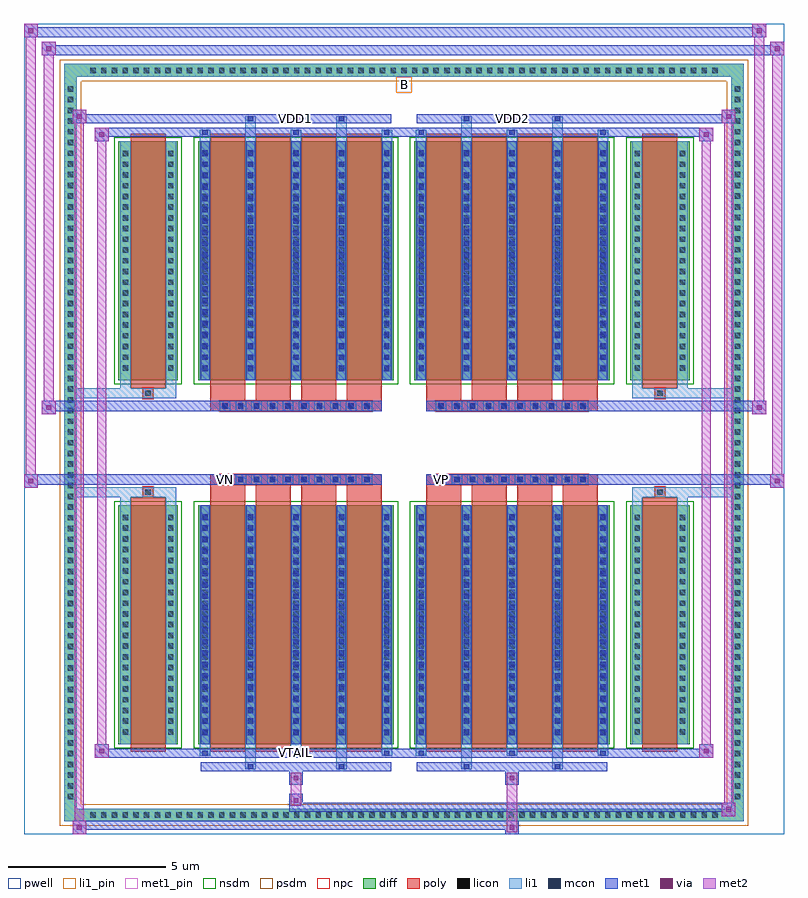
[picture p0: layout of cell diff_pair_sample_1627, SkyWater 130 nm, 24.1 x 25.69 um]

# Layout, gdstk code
import gdstk
lib = gdstk.Library(unit=1e-6, precision=5e-09)
def R(c, l, rs):  # rectangles x0, y0, x1, y1
    for r in rs: c.add(gdstk.rectangle(r[:2], r[2:], *l))
def A(c, l, x, y, w, h, nx, ny, dx, dy):  # array of equal rectangles
    R(c, l, [(x+i*dx, y+j*dy, x+i*dx+w, y+j*dy+h) for i in range(nx) for j in range(ny)])
def P(c, l, *ps):  # polygons
    for p in ps: c.add(gdstk.Polygon(p, *l))
pwell = (64, 44)
diff = (65, 20)
poly = (66, 20)
licon = (66, 44)
li1_pin = (67, 16)
li1 = (67, 20)
mcon = (67, 44)
met1_pin = (68, 16)
met1 = (68, 20)
via = (68, 44)
met2 = (69, 20)
nsdm = (93, 44)
psdm = (94, 20)
npc = (95, 20)

diff_pair_sample_1627 = lib.new_cell('diff_pair_sample_1627')
R(diff_pair_sample_1627, pwell, [(-12.05,-12.41,12.05,13.28), (-9.37,-10.6,-0.01,-0.8), (0.01,-10.6,9.37,-0.8), (-9.37,0.8,-0.01,10.6), (0.01,0.8,9.37,10.6)])
A(diff_pair_sample_1627, diff, -10.065, -12.01, 0.41, 0.41, 59, 2, 0.34, 23.61)
A(diff_pair_sample_1627, diff, -10.78, -11.425, 0.41, 0.41, 1, 67, 0, 0.34)
A(diff_pair_sample_1627, diff, 10.37, -11.425, 0.41, 0.41, 1, 67, 0, 0.34)
R(diff_pair_sample_1627, diff, [(-10.065,-12.01,10.065,-11.6), (-10.78,-11.425,-10.37,11.425), (10.37,-11.425,10.78,11.425), (-9.06,-9.555,-7.17,-1.985), (-6.53,-9.555,-0.32,-1.985), (0.32,-9.555,6.53,-1.985), (7.17,-9.555,9.06,-1.985), (-9.06,1.985,-7.17,9.555), (-6.53,1.985,-0.32,9.555), (0.32,1.985,6.53,9.555), (7.17,1.985,9.06,9.555), (-10.065,11.6,10.065,12.01)])
P(diff_pair_sample_1627, diff, [(10.78,12.01),(-10.78,12.01),(-10.78,-11.6),(-10.37,-11.6),(-10.37,11.6),(10.37,11.6),(10.37,-11.6),(-10.37,-11.6),(-10.78,-11.6),(-10.78,-12.01),(10.78,-12.01)])
A(diff_pair_sample_1627, poly, -6.14, -9.805, 1.11, 8.07, 4, 2, 1.44, 11.54)
A(diff_pair_sample_1627, poly, 0.71, -9.805, 1.11, 8.07, 4, 2, 1.44, 11.54)
A(diff_pair_sample_1627, poly, -6.14, -1.735, 1.11, 0.405, 4, 2, 1.44, 3.065)
A(diff_pair_sample_1627, poly, 0.71, -1.735, 1.11, 0.405, 4, 2, 1.44, 3.065)
A(diff_pair_sample_1627, poly, -5.84, -1.33, 0.33, 0.33, 10, 2, 0.5, 2.33)
A(diff_pair_sample_1627, poly, 1.01, -1.33, 0.33, 0.33, 10, 2, 0.5, 2.33)
R(diff_pair_sample_1627, poly, [(-8.67,-9.805,-7.56,-1.735), (7.56,-9.805,8.67,-1.735), (-8.28,-1.735,-7.95,-1.405), (-8.28,-1.735,-7.95,-1.405), (7.95,-1.735,8.28,-1.405), (7.95,-1.735,8.28,-1.405), (-6.14,-1.33,-0.71,-1), (0.71,-1.33,6.14,-1), (-6.14,1,-0.71,1.33), (0.71,1,6.14,1.33), (-8.28,1.405,-7.95,1.735), (-8.28,1.405,-7.95,1.735), (7.95,1.405,8.28,1.735), (7.95,1.405,8.28,1.735), (-8.67,1.735,-7.56,9.805), (7.56,1.735,8.67,9.805)])
A(diff_pair_sample_1627, licon, -9.945, -11.89, 0.17, 0.17, 59, 2, 0.34, 23.61)
A(diff_pair_sample_1627, licon, -10.66, -11.305, 0.17, 0.17, 1, 67, 0, 0.34)
A(diff_pair_sample_1627, licon, 10.49, -11.305, 0.17, 0.17, 1, 67, 0, 0.34)
A(diff_pair_sample_1627, licon, -8.92, -9.255, 0.17, 0.17, 1, 21, 0, 0.34)
A(diff_pair_sample_1627, licon, -7.48, -9.255, 0.17, 0.17, 1, 21, 0, 0.34)
A(diff_pair_sample_1627, licon, -6.39, -9.255, 0.17, 0.17, 5, 21, 1.44, 0.34)
A(diff_pair_sample_1627, licon, 0.46, -9.255, 0.17, 0.17, 5, 21, 1.44, 0.34)
A(diff_pair_sample_1627, licon, 7.31, -9.255, 0.17, 0.17, 1, 21, 0, 0.34)
A(diff_pair_sample_1627, licon, 8.75, -9.255, 0.17, 0.17, 1, 21, 0, 0.34)
A(diff_pair_sample_1627, licon, -5.76, -1.25, 0.17, 0.17, 10, 2, 0.5, 2.33)
A(diff_pair_sample_1627, licon, 1.09, -1.25, 0.17, 0.17, 10, 2, 0.5, 2.33)
A(diff_pair_sample_1627, licon, -8.92, 2.285, 0.17, 0.17, 1, 21, 0, 0.34)
A(diff_pair_sample_1627, licon, -7.48, 2.285, 0.17, 0.17, 1, 21, 0, 0.34)
A(diff_pair_sample_1627, licon, -6.39, 2.285, 0.17, 0.17, 5, 21, 1.44, 0.34)
A(diff_pair_sample_1627, licon, 0.46, 2.285, 0.17, 0.17, 5, 21, 1.44, 0.34)
A(diff_pair_sample_1627, licon, 7.31, 2.285, 0.17, 0.17, 1, 21, 0, 0.34)
A(diff_pair_sample_1627, licon, 8.75, 2.285, 0.17, 0.17, 1, 21, 0, 0.34)
R(diff_pair_sample_1627, licon, [(-8.2,-1.655,-8.03,-1.485), (8.03,-1.655,8.2,-1.485), (-8.2,1.485,-8.03,1.655), (8.03,1.485,8.2,1.655)])
R(diff_pair_sample_1627, li1_pin, [(-0.25,11.1,0.25,11.6)])
A(diff_pair_sample_1627, li1, -10.025, -11.97, 0.33, 0.33, 59, 2, 0.34, 23.61)
A(diff_pair_sample_1627, li1, -10.74, -11.385, 0.33, 0.33, 1, 67, 0, 0.34)
A(diff_pair_sample_1627, li1, 10.41, -11.385, 0.33, 0.33, 1, 67, 0, 0.34)
A(diff_pair_sample_1627, li1, -6.47, -9.93, 0.33, 0.375, 3, 2, 2.88, 19.485)
A(diff_pair_sample_1627, li1, -6.39, -9.93, 0.17, 0.17, 3, 2, 2.88, 19.69)
A(diff_pair_sample_1627, li1, 0.38, -9.93, 0.33, 0.375, 3, 2, 2.88, 19.485)
A(diff_pair_sample_1627, li1, 0.46, -9.93, 0.17, 0.17, 3, 2, 2.88, 19.69)
A(diff_pair_sample_1627, li1, -6.47, -9.555, 0.33, 7.57, 5, 2, 1.44, 11.54)
A(diff_pair_sample_1627, li1, 0.38, -9.555, 0.33, 7.57, 5, 2, 1.44, 11.54)
A(diff_pair_sample_1627, li1, -9, -9.335, 0.33, 0.33, 1, 21, 0, 0.34)
A(diff_pair_sample_1627, li1, -7.56, -9.335, 0.33, 0.33, 1, 21, 0, 0.34)
A(diff_pair_sample_1627, li1, -6.47, -9.335, 0.33, 0.33, 5, 21, 1.44, 0.34)
A(diff_pair_sample_1627, li1, 0.38, -9.335, 0.33, 0.33, 5, 21, 1.44, 0.34)
A(diff_pair_sample_1627, li1, 7.23, -9.335, 0.33, 0.33, 1, 21, 0, 0.34)
A(diff_pair_sample_1627, li1, 8.67, -9.335, 0.33, 0.33, 1, 21, 0, 0.34)
A(diff_pair_sample_1627, li1, -6.39, -9.275, 0.17, 0.17, 5, 20, 1.44, 0.36)
A(diff_pair_sample_1627, li1, -6.39, -9.275, 0.17, 7.01, 5, 2, 1.44, 11.54)
A(diff_pair_sample_1627, li1, 0.46, -9.275, 0.17, 0.17, 5, 20, 1.44, 0.36)
A(diff_pair_sample_1627, li1, 0.46, -9.275, 0.17, 7.01, 5, 2, 1.44, 11.54)
A(diff_pair_sample_1627, li1, -5.84, -1.33, 0.33, 0.33, 10, 2, 0.5, 2.33)
A(diff_pair_sample_1627, li1, 1.01, -1.33, 0.33, 0.33, 10, 2, 0.5, 2.33)
A(diff_pair_sample_1627, li1, -9, 2.205, 0.33, 0.33, 1, 21, 0, 0.34)
A(diff_pair_sample_1627, li1, -7.56, 2.205, 0.33, 0.33, 1, 21, 0, 0.34)
A(diff_pair_sample_1627, li1, -6.47, 2.205, 0.33, 0.33, 5, 21, 1.44, 0.34)
A(diff_pair_sample_1627, li1, 0.38, 2.205, 0.33, 0.33, 5, 21, 1.44, 0.34)
A(diff_pair_sample_1627, li1, 7.23, 2.205, 0.33, 0.33, 1, 21, 0, 0.34)
A(diff_pair_sample_1627, li1, 8.67, 2.205, 0.33, 0.33, 1, 21, 0, 0.34)
A(diff_pair_sample_1627, li1, -6.39, 2.265, 0.17, 0.17, 5, 20, 1.44, 0.36)
A(diff_pair_sample_1627, li1, 0.46, 2.265, 0.17, 0.17, 5, 20, 1.44, 0.36)
R(diff_pair_sample_1627, li1, [(-10.78,-12.01,-10.37,-11.6), (-10.78,-12.01,-10.37,-11.6), (-10.37,-12.01,10.37,-11.6), (10.37,-12.01,10.78,-11.6), (10.37,-12.01,10.78,-11.6), (-10.78,-11.6,-10.37,11.6), (10.37,-11.6,10.78,11.6), (-5.03,-10.36,-4.7,-9.555), (-4.95,-10.36,-4.78,-10.19), (-2.15,-10.36,-1.82,-9.555), (-2.07,-10.36,-1.9,-10.19), (1.82,-10.36,2.15,-9.555), (1.9,-10.36,2.07,-10.19), (4.7,-10.36,5.03,-9.555), (4.78,-10.36,4.95,-10.19), (-9,-9.555,-8.67,-1.985), (-7.56,-9.555,-7.23,-1.985), (7.23,-9.555,7.56,-1.985), (8.67,-9.555,9,-1.985), (-9,-1.985,-8.67,-1.405), (-7.56,-1.985,-7.23,-1.405), (7.23,-1.985,7.56,-1.405), (8.67,-1.985,9,-1.405), (-10.78,-1.735,-8.28,-1.405), (-9,-1.735,-8.28,-1.405), (-8.28,-1.735,-7.95,-1.405), (-7.95,-1.735,-7.23,-1.405), (7.23,-1.735,7.95,-1.405), (7.95,-1.735,8.28,-1.405), (7.95,-1.735,10.78,-1.405), (8.28,-1.735,9,-1.405), (-10.78,1.405,-8.28,1.735), (-9,1.405,-8.28,1.735), (-9,1.405,-8.67,1.985), (-8.28,1.405,-7.95,1.735), (-7.95,1.405,-7.23,1.735), (-7.56,1.405,-7.23,1.985), (7.23,1.405,7.95,1.735), (7.23,1.405,7.56,1.985), (7.95,1.405,8.28,1.735), (7.95,1.405,10.78,1.735), (8.28,1.405,9,1.735), (8.67,1.405,9,1.985), (-9,1.985,-8.67,9.555), (-7.56,1.985,-7.23,9.555), (7.23,1.985,7.56,9.555), (8.67,1.985,9,9.555), (-5.03,9.555,-4.7,10.36), (-2.15,9.555,-1.82,10.36), (1.82,9.555,2.15,10.36), (4.7,9.555,5.03,10.36), (-4.95,10.19,-4.78,10.36), (-2.07,10.19,-1.9,10.36), (1.9,10.19,2.07,10.36), (4.78,10.19,4.95,10.36), (-10.78,11.6,-10.37,12.01), (-10.78,11.6,-10.37,12.01), (-10.37,11.6,10.37,12.01), (10.37,11.6,10.78,12.01), (10.37,11.6,10.78,12.01)])
A(diff_pair_sample_1627, mcon, -6.39, -9.93, 0.17, 0.17, 3, 2, 2.88, 19.69)
A(diff_pair_sample_1627, mcon, 0.46, -9.93, 0.17, 0.17, 3, 2, 2.88, 19.69)
A(diff_pair_sample_1627, mcon, -6.39, -9.275, 0.17, 0.17, 5, 20, 1.44, 0.36)
A(diff_pair_sample_1627, mcon, 0.46, -9.275, 0.17, 0.17, 5, 20, 1.44, 0.36)
A(diff_pair_sample_1627, mcon, -5.76, -1.25, 0.17, 0.17, 10, 2, 0.5, 2.33)
A(diff_pair_sample_1627, mcon, 1.09, -1.25, 0.17, 0.17, 10, 2, 0.5, 2.33)
A(diff_pair_sample_1627, mcon, -6.39, 2.265, 0.17, 0.17, 5, 20, 1.44, 0.36)
A(diff_pair_sample_1627, mcon, 0.46, 2.265, 0.17, 0.17, 5, 20, 1.44, 0.36)
R(diff_pair_sample_1627, mcon, [(-4.95,-10.36,-4.78,-10.19), (-2.07,-10.36,-1.9,-10.19), (1.9,-10.36,2.07,-10.19), (4.78,-10.36,4.95,-10.19), (-4.95,10.19,-4.78,10.36), (-2.07,10.19,-1.9,10.36), (1.9,10.19,2.07,10.36), (4.78,10.19,4.95,10.36)])
R(diff_pair_sample_1627, met1_pin, [(-3.56,-9.97,-3.29,-9.7), (-5.81,-1.29,-5.54,-1.02), (1.04,-1.29,1.31,-1.02), (-3.56,10.15,-3.29,10.42), (3.29,10.15,3.56,10.42)])
A(diff_pair_sample_1627, met1, -6.45, -9.99, 0.29, 0.29, 3, 2, 2.88, 19.69)
A(diff_pair_sample_1627, met1, 0.4, -9.99, 0.29, 0.29, 3, 2, 2.88, 19.69)
A(diff_pair_sample_1627, met1, -6.45, -9.555, 0.29, 7.57, 5, 2, 1.44, 11.54)
A(diff_pair_sample_1627, met1, 0.4, -9.555, 0.29, 7.57, 5, 2, 1.44, 11.54)
A(diff_pair_sample_1627, met1, -6.45, -9.335, 0.29, 0.29, 5, 20, 1.44, 0.36)
A(diff_pair_sample_1627, met1, 0.4, -9.335, 0.29, 0.29, 5, 20, 1.44, 0.36)
A(diff_pair_sample_1627, met1, -5.82, -1.31, 0.29, 0.29, 10, 2, 0.5, 2.33)
A(diff_pair_sample_1627, met1, 1.03, -1.31, 0.29, 0.29, 10, 2, 0.5, 2.33)
A(diff_pair_sample_1627, met1, -6.45, 2.205, 0.29, 0.29, 5, 20, 1.44, 0.36)
A(diff_pair_sample_1627, met1, 0.4, 2.205, 0.29, 0.29, 5, 20, 1.44, 0.36)
R(diff_pair_sample_1627, met1, [(-10.51,-12.41,-10.08,-11.98), (3.21,-12.41,3.64,-11.98), (-10.51,-12.27,3.64,-11.98), (10.08,-11.84,10.51,-11.41), (-3.64,-11.7,10.51,-11.41), (-3.64,-11.56,-3.21,-11.13), (-3.64,-10.85,-3.21,-10.42), (3.21,-10.85,3.64,-10.42), (-6.45,-10.42,-0.4,-10.13), (-5.01,-10.42,-4.72,-10.13), (-2.13,-10.42,-1.84,-10.13), (0.4,-10.42,6.45,-10.13), (1.84,-10.42,2.13,-10.13), (4.72,-10.42,5.01,-10.13), (-9.8,-9.99,-9.37,-9.56), (-9.8,-9.99,-6.45,-9.7), (-6.45,-9.99,-0.4,-9.7), (-0.4,-9.99,0.4,-9.7), (0.4,-9.99,6.45,-9.7), (6.45,-9.99,9.8,-9.7), (9.37,-9.99,9.8,-9.56), (-12.05,-1.43,-11.62,-1), (11.62,-1.43,12.05,-1), (-12.05,-1.33,-0.71,-1), (-6.14,-1.33,-0.71,-1), (0.71,-1.33,6.14,-1), (0.71,-1.33,12.05,-1), (-11.48,0.9,-11.05,1.33), (11.05,0.9,11.48,1.33), (-11.48,1,-6.14,1.33), (-6.14,1,-0.71,1.33), (0.71,1,6.14,1.33), (6.14,1,11.48,1.33), (-9.8,9.56,-9.37,9.99), (9.37,9.56,9.8,9.99), (-9.8,9.7,-6.45,9.99), (-6.45,9.7,-0.4,9.99), (-0.4,9.7,0.4,9.99), (0.4,9.7,6.45,9.99), (6.45,9.7,9.8,9.99), (-10.51,10.13,-10.08,10.56), (-10.51,10.13,-6.45,10.42), (-6.45,10.13,-0.4,10.42), (-5.01,10.13,-4.72,10.42), (-2.13,10.13,-1.84,10.42), (0.4,10.13,6.45,10.42), (1.84,10.13,2.13,10.42), (4.72,10.13,5.01,10.42), (6.45,10.13,10.51,10.42), (10.08,10.13,10.51,10.56), (-11.48,12.28,-11.05,12.71), (-11.48,12.28,-9.37,12.61), (-9.37,12.28,9.37,12.61), (9.37,12.28,12.05,12.61), (11.62,12.28,12.05,12.71), (-12.05,12.85,-11.62,13.28), (-12.05,12.85,-9.37,13.18), (-9.37,12.85,9.37,13.18), (9.37,12.85,11.48,13.18), (11.05,12.85,11.48,13.28)])
R(diff_pair_sample_1627, via, [(-10.37,-12.27,-10.22,-12.12), (3.35,-12.27,3.5,-12.12), (10.22,-11.7,10.37,-11.55), (-3.5,-11.42,-3.35,-11.27), (-3.5,-10.71,-3.35,-10.56), (3.35,-10.71,3.5,-10.56), (-9.66,-9.85,-9.51,-9.7), (9.51,-9.85,9.66,-9.7), (-11.91,-1.29,-11.76,-1.14), (11.76,-1.29,11.91,-1.14), (-11.34,1.04,-11.19,1.19), (11.19,1.04,11.34,1.19), (-9.66,9.7,-9.51,9.85), (9.51,9.7,9.66,9.85), (-10.37,10.27,-10.22,10.42), (10.22,10.27,10.37,10.42), (-11.34,12.42,-11.19,12.57), (11.76,12.42,11.91,12.57), (-11.91,12.99,-11.76,13.14), (11.19,12.99,11.34,13.14)])
R(diff_pair_sample_1627, met2, [(-10.51,-12.41,-10.08,-11.98), (-10.44,-12.41,-10.15,10.56), (-10.15,-12.41,-10.08,-11.98), (-10.46,-12.36,-10.13,-12.03), (3.26,-12.36,3.59,-12.03), (3.26,-12.03,3.59,-10.8), (10.08,-11.84,10.51,-11.41), (10.15,-11.84,10.44,10.56), (10.44,-11.84,10.51,-11.41), (10.13,-11.79,10.46,-11.46), (-3.59,-11.51,-3.26,-11.18), (-3.59,-11.18,-3.26,-10.8), (-3.59,-10.8,-3.26,-10.47), (3.26,-10.8,3.59,-10.47), (-9.8,-9.99,-9.37,-9.56), (-9.73,-9.99,-9.44,9.99), (-9.44,-9.99,-9.37,-9.56), (9.37,-9.99,9.8,-9.56), (9.44,-9.99,9.73,9.99), (9.73,-9.99,9.8,-9.56), (-9.75,-9.94,-9.42,-9.61), (9.42,-9.94,9.75,-9.61), (-12.05,-1.43,-11.62,-1), (-12,-1.43,-11.67,13.28), (-11.67,-1.43,-11.62,-1), (11.62,-1.43,12.05,-1), (11.67,-1.43,12,12.71), (12,-1.43,12.05,-1), (-12,-1.38,-11.67,-1.05), (11.67,-1.38,12,-1.05), (-11.48,0.9,-11.05,1.33), (-11.43,0.9,-11.1,12.71), (-11.1,0.9,-11.05,1.33), (11.05,0.9,11.48,1.33), (11.1,0.9,11.43,13.28), (11.43,0.9,11.48,1.33), (-11.43,0.95,-11.1,1.28), (11.1,0.95,11.43,1.28), (-9.8,9.56,-9.37,9.99), (-9.44,9.56,-9.37,9.99), (9.37,9.56,9.8,9.99), (9.73,9.56,9.8,9.99), (-9.75,9.61,-9.42,9.94), (9.42,9.61,9.75,9.94), (-10.51,10.13,-10.08,10.56), (-10.15,10.13,-10.08,10.56), (10.08,10.13,10.51,10.56), (10.44,10.13,10.51,10.56), (-10.46,10.18,-10.13,10.51), (10.13,10.18,10.46,10.51), (-11.48,12.28,-11.05,12.71), (-11.1,12.28,-11.05,12.71), (11.62,12.28,12.05,12.71), (12,12.28,12.05,12.71), (-11.43,12.33,-11.1,12.66), (11.67,12.33,12,12.66), (-12.05,12.85,-11.62,13.28), (-11.67,12.85,-11.62,13.28), (11.05,12.85,11.48,13.28), (11.43,12.85,11.48,13.28), (-12,12.9,-11.67,13.23), (11.1,12.9,11.43,13.23)])
R(diff_pair_sample_1627, nsdm, [(-9.19,-9.685,-7.04,-1.855), (-6.66,-9.685,-0.19,-1.855), (0.19,-9.685,6.66,-1.855), (7.04,-9.685,9.19,-1.855), (-9.19,1.855,-7.04,9.685), (-6.66,1.855,-0.19,9.685), (0.19,1.855,6.66,9.685), (7.04,1.855,9.19,9.685)])
P(diff_pair_sample_1627, psdm, [(10.91,12.14),(-10.91,12.14),(-10.91,-11.47),(-10.24,-11.47),(-10.24,11.47),(10.24,11.47),(10.24,-11.47),(-10.24,-11.47),(-10.91,-11.47),(-10.91,-12.14),(10.91,-12.14)])
A(diff_pair_sample_1627, npc, -5.86, -1.35, 0.37, 0.37, 10, 2, 0.5, 2.33)
A(diff_pair_sample_1627, npc, 0.99, -1.35, 0.37, 0.37, 10, 2, 0.5, 2.33)
R(diff_pair_sample_1627, npc, [(-8.3,-1.755,-7.93,-1.385), (7.93,-1.755,8.3,-1.385), (-5.86,-1.35,-4.99,-0.98), (-5.86,-1.35,-4.99,-0.98), (-5.36,-1.35,-4.49,-0.98), (-5.36,-1.35,-4.49,-0.98), (-4.86,-1.35,-3.99,-0.98), (-4.86,-1.35,-3.99,-0.98), (-4.36,-1.35,-3.49,-0.98), (-4.36,-1.35,-3.49,-0.98), (-3.86,-1.35,-2.99,-0.98), (-3.86,-1.35,-2.99,-0.98), (-3.36,-1.35,-2.49,-0.98), (-3.36,-1.35,-2.49,-0.98), (-2.86,-1.35,-1.99,-0.98), (-2.86,-1.35,-1.99,-0.98), (-2.36,-1.35,-1.49,-0.98), (-2.36,-1.35,-1.49,-0.98), (-1.86,-1.35,-0.99,-0.98), (-1.86,-1.35,-0.99,-0.98), (0.99,-1.35,1.86,-0.98), (0.99,-1.35,1.86,-0.98), (1.49,-1.35,2.36,-0.98), (1.49,-1.35,2.36,-0.98), (1.99,-1.35,2.86,-0.98), (1.99,-1.35,2.86,-0.98), (2.49,-1.35,3.36,-0.98), (2.49,-1.35,3.36,-0.98), (2.99,-1.35,3.86,-0.98), (2.99,-1.35,3.86,-0.98), (3.49,-1.35,4.36,-0.98), (3.49,-1.35,4.36,-0.98), (3.99,-1.35,4.86,-0.98), (3.99,-1.35,4.86,-0.98), (4.49,-1.35,5.36,-0.98), (4.49,-1.35,5.36,-0.98), (4.99,-1.35,5.86,-0.98), (4.99,-1.35,5.86,-0.98), (-5.86,0.98,-4.99,1.35), (-5.86,0.98,-4.99,1.35), (-5.36,0.98,-4.49,1.35), (-5.36,0.98,-4.49,1.35), (-4.86,0.98,-3.99,1.35), (-4.86,0.98,-3.99,1.35), (-4.36,0.98,-3.49,1.35), (-4.36,0.98,-3.49,1.35), (-3.86,0.98,-2.99,1.35), (-3.86,0.98,-2.99,1.35), (-3.36,0.98,-2.49,1.35), (-3.36,0.98,-2.49,1.35), (-2.86,0.98,-1.99,1.35), (-2.86,0.98,-1.99,1.35), (-2.36,0.98,-1.49,1.35), (-2.36,0.98,-1.49,1.35), (-1.86,0.98,-0.99,1.35), (-1.86,0.98,-0.99,1.35), (0.99,0.98,1.86,1.35), (0.99,0.98,1.86,1.35), (1.49,0.98,2.36,1.35), (1.49,0.98,2.36,1.35), (1.99,0.98,2.86,1.35), (1.99,0.98,2.86,1.35), (2.49,0.98,3.36,1.35), (2.49,0.98,3.36,1.35), (2.99,0.98,3.86,1.35), (2.99,0.98,3.86,1.35), (3.49,0.98,4.36,1.35), (3.49,0.98,4.36,1.35), (3.99,0.98,4.86,1.35), (3.99,0.98,4.86,1.35), (4.49,0.98,5.36,1.35), (4.49,0.98,5.36,1.35), (4.99,0.98,5.86,1.35), (4.99,0.98,5.86,1.35), (-8.3,1.385,-7.93,1.755), (7.93,1.385,8.3,1.755)])
diff_pair_sample_1627.add(gdstk.Label('VTAIL', (-3.425,-9.835), layer=68, texttype=5))
diff_pair_sample_1627.add(gdstk.Label('VN', (-5.675,-1.155), layer=68, texttype=5))
diff_pair_sample_1627.add(gdstk.Label('VP', (1.175,-1.155), layer=68, texttype=5))
diff_pair_sample_1627.add(gdstk.Label('B', (0,11.35), layer=67, texttype=5))
diff_pair_sample_1627.add(gdstk.Label('VDD2', (3.425,10.285), layer=68, texttype=5))
diff_pair_sample_1627.add(gdstk.Label('VDD1', (-3.425,10.285), layer=68, texttype=5))

lib.write_gds('diff_pair_sample_1627.gds')
